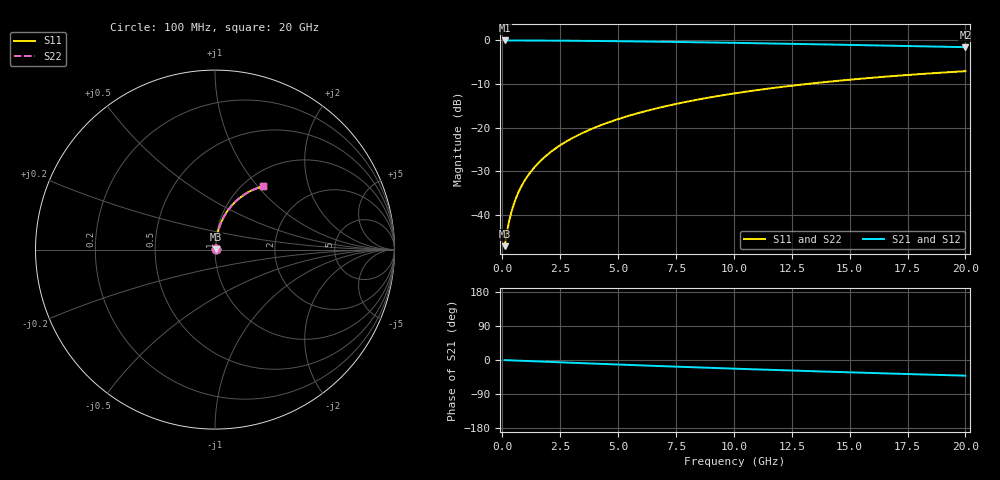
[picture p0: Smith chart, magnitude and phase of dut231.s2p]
! Touchstone file exported from HFSS 2024.1.0
!  File:  C:/UserFiles/LocalFiles/RDL_TSV_Batchsim/temp_RDL_bottom_231_1778700869.aedt
!  Generated:  03:37:17 AM May 14, 2026
!  Design:  RDL_bottom
!  Project:  temp_RDL_bottom_231_1778700869
!  Setup:  Setup1
!  Solution:  Sweep
! Variables:
!  dtsv = 10.80580581um
!  hbump = 3um
!  htsv = 59.9um
!  ldown = 544.12um
!  lrdl = 100um
!  p = 40
!  p1 = 50.34um
!  rhole = 1um
!  t = 450um
!  tdown = 3.75um
!  trdl = 3.915915916um
!  wdown = 15.05um
!  wrdl = 20um
# GHz S MA R 50.000000
! Terminal data exported
! Port[1] = RDL1_T1
! Port[2] = RDL1_T2
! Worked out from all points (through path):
!   200 points, 100 MHz to 20 GHz, reference 50 ohm
!   highest |S21| = -0.03 dB at 100 MHz (marker M1); lowest = -1.6 dB at 20 GHz (marker M2)
!   group delay of S21, straight-line fit = 5.72 ps
!   lowest |S11| = -47.1 dB at 100 MHz (marker M3), VSWR 1.01, Z = 50.4 + j0.265 ohm
!   |S11| at or under -10 dB: start of sweep to 13.15 GHz
!   |S22| runs from -47.1 to -7.1 dB; largest |S21 - S12| = 4.4e-15
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0.1  0.004399 36.7  0.9965 -0.3  0.9965 -0.3  0.004399 36.7
! Gamma 0 0 0 0
! Port Impedance 50 0 50 0
0.2  0.00636 55.3  0.9964 -0.5  0.9964 -0.5  0.00636 55.3
0.3  0.008639 64.2  0.9962 -0.8  0.9962 -0.8  0.008639 64.2
0.4  0.01101 69.3  0.9961 -1.0  0.9961 -1.0  0.01101 69.3
0.5  0.01341 72.5  0.9959 -1.2  0.9959 -1.2  0.01341 72.5
0.6  0.01583 74.7  0.9958 -1.5  0.9958 -1.5  0.01583 74.7
0.8  0.0207 77.5  0.9955 -2.0  0.9955 -2.0  0.0207 77.5
1.1  0.02807 79.8  0.9949 -2.7  0.9949 -2.7  0.02807 79.8
1.5  0.03796 81.2  0.994 -3.7  0.994 -3.7  0.03796 81.2
1.8  0.04541 81.7  0.9932 -4.4  0.9932 -4.4  0.04541 81.7
2.1  0.05288 81.9  0.9923 -5.1  0.9923 -5.1  0.05288 81.9
2.7  0.06784 81.8  0.99 -6.6  0.99 -6.6  0.06784 81.8
3.5  0.08782 81.1  0.9863 -8.5  0.9863 -8.5  0.08782 81.1
4.2  0.1053 80.3  0.9824 -10.1  0.9824 -10.1  0.1053 80.3
5  0.1252 79.2  0.9774 -12.0  0.9774 -12.0  0.1252 79.2
5.9  0.1476 77.8  0.971 -14.0  0.971 -14.0  0.1476 77.8
6.8  0.1698 76.3  0.964 -16.0  0.964 -16.0  0.1698 76.3
8.4  0.2086 73.4  0.9505 -19.5  0.9505 -19.5  0.2086 73.4
10.1  0.2486 70.3  0.935 -23.0  0.935 -23.0  0.2486 70.3
13.4  0.3215 64.2  0.9027 -29.6  0.9027 -29.6  0.3215 64.2
16.7  0.3866 58.3  0.869 -35.6  0.869 -35.6  0.3866 58.3
20  0.4434 52.8  0.8351 -41.3  0.8351 -41.3  0.4433 52.7
